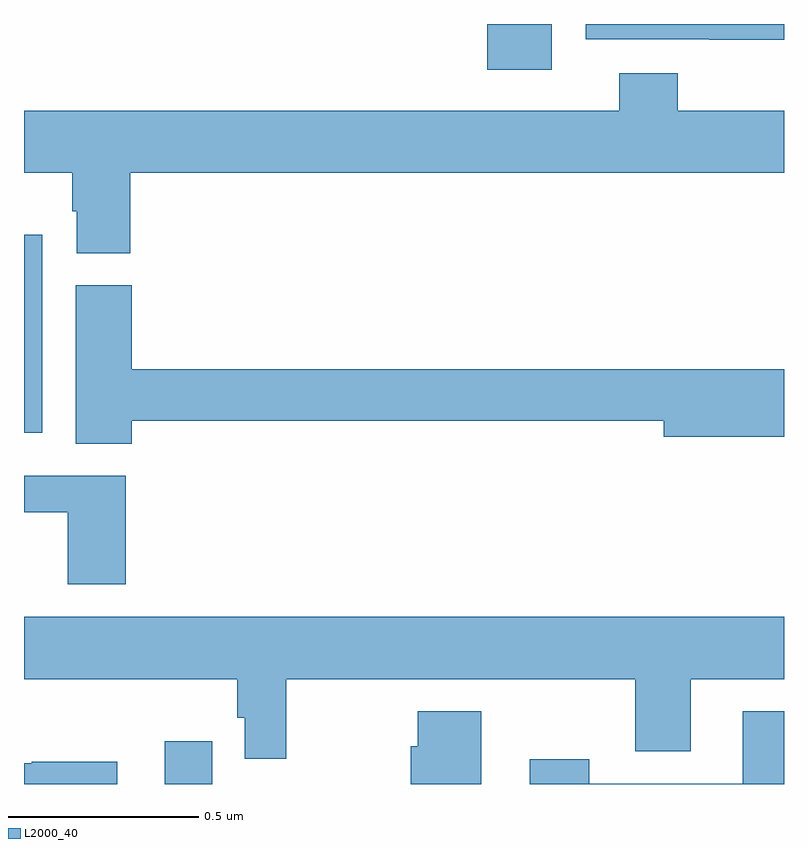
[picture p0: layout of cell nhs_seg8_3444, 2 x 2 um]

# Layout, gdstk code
import gdstk
lib = gdstk.Library(unit=1e-6, precision=1e-09)
def R(c, l, rs):  # rectangles x0, y0, x1, y1
    for r in rs: c.add(gdstk.rectangle(r[:2], r[2:], *l))
def P(c, l, *ps):  # polygons
    for p in ps: c.add(gdstk.Polygon(p, *l))
L2000_40 = (2000, 40)

nhs_seg8_3444 = lib.new_cell('nhs_seg8_3444')
R(nhs_seg8_3444, L2000_40, [(157.371,1106.9,157.496,1107.013), (157,1107.824,157.048,1108.345), (158.219,1108.779,158.389,1108.9)])
P(nhs_seg8_3444, L2000_40, [(159,1108.9),(158.478,1108.9),(158.478,1108.86),(158.803,1108.86),(158.803,1108.859),(159,1108.859)],
  [(157.28,1108.508),(159,1108.508),(159,1108.672),(158.72,1108.672),(158.72,1108.771),(158.567,1108.771),(158.567,1108.672),(157,1108.672),(157,1108.508),(157.127,1108.508),(157.127,1108.407),(157.139,1108.407),(157.139,1108.297),(157.28,1108.297)],
  [(157.283,1107.856),(158.684,1107.856),(158.684,1107.814),(159,1107.814),(159,1107.992),(157.283,1107.992),(157.283,1108.212),(157.136,1108.212),(157.136,1107.796),(157.283,1107.796)],
  [(157.268,1107.711),(157,1107.711),(157,1107.615),(157.115,1107.615),(157.115,1107.426),(157.268,1107.426)],
  [(157.69,1107.176),(158.608,1107.176),(158.608,1106.986),(158.755,1106.986),(158.755,1107.176),(159,1107.176),(159,1107.34),(157,1107.34),(157,1107.176),(157.561,1107.176),(157.561,1107.075),(157.581,1107.075),(157.581,1106.966),(157.69,1106.966)],
  [(159,1107.091),(158.891,1107.091),(158.891,1106.901),(158.487,1106.901),(158.487,1106.965),(158.331,1106.965),(158.331,1106.9),(159,1106.9)],
  [(158.203,1107.091),(158.036,1107.091),(158.036,1107),(158.018,1107),(158.018,1106.9),(158.203,1106.9)],
  [(157.246,1106.958),(157.021,1106.958),(157.021,1106.955),(157,1106.955),(157,1106.9),(157.246,1106.9)])

lib.write_gds('nhs_seg8_3444.gds')
